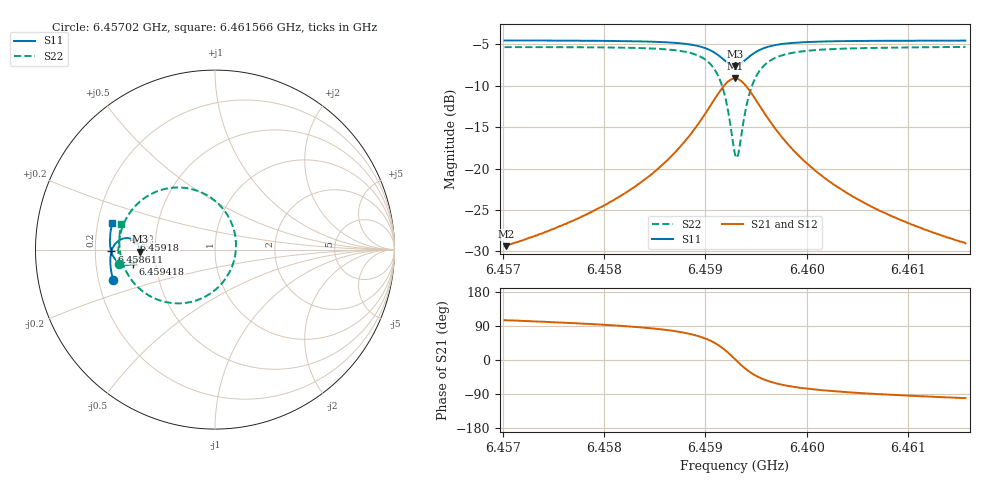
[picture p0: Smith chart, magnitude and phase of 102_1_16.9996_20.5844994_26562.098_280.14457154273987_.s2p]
#  HZ  S  RI  R  50.00
! Rohde & Schwarz Vector Network Analyzer
! Rohde-Schwarz,ZNB20-2Port,1311601062101988,3.16
! Created: UTC 3/20/2024, 10:56:40 PM
! freq[Hz]  re:S11  im:S11  re:S21  im:S21  re:S12  im:S12  re:S22  im:S22
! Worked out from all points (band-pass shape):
!   401 points, 6.45702 GHz to 6.461566 GHz, reference 50 ohm
!   highest |S21| = -9.14 dB at 6.459293 GHz (marker M1); lowest = -29.4 dB at 6.457031 GHz (marker M2)
!   |S21| within 3 dB of the highest: 6.459066 GHz to 6.45952 GHz (454.7 kHz wide, 0.00704 % of centre)
!   lowest |S11| = -7.6 dB at 6.459293 GHz (marker M3), VSWR 2.42, Z = 20.6 - j0.548 ohm
!   |S11| at or under -10 dB: nowhere
!   |S22| runs from -18.7 to -5.3 dB; largest |S21 - S12| = 0.014
!   S11 on the Smith chart (normalised r, x): 6.45702 GHz: 0.26, -0.14; 6.458611 GHz: 0.27, -0.01; 6.45918 GHz: 0.38, +0.05; 6.459418 GHz: 0.37, -0.07; 6.461566 GHz: 0.26, +0.12
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6.4570201e9  -0.567 -0.1702  -0.00875 0.0329  -0.00711 0.0328  -0.5337 -0.0805
6.4570315e9  -0.5673 -0.1692  -0.00868 0.0329  -0.00706 0.033  -0.534 -0.0791
6.4577816e9  -0.5806 -0.1034  -0.00553 0.0511  -0.00302 0.0503  -0.5385 0.0093
6.4582249e9  -0.5834 -0.0585  0.0011 0.0721  0.00447 0.0706  -0.5288 0.081
6.4585431e9  -0.5794 -0.02  0.0148 0.0998  0.0187 0.097  -0.5038 0.1545
6.4586113e9  -0.5771 -0.0104  0.0202 0.1082  0.0241 0.105  -0.4933 0.1746
6.4588045e9  -0.5644 0.02  0.047 0.1396  0.0512 0.1344  -0.443 0.2438
6.4589523e9  -0.5414 0.0465  0.093 0.1702  0.0961 0.1634  -0.3585 0.3082
6.4590887e9  -0.497 0.064  0.1813 0.1867  0.1821 0.1792  -0.1973 0.3461
6.4591796e9  -0.4517 0.0532  0.2721 0.1545  0.2723 0.1488  -0.0295 0.2937
6.4592478e9  -0.4223 0.0206  0.3328 0.0816  0.3351 0.0763  0.0858 0.1621
6.4592932e9  -0.4155 -0.011  0.349 0.0127  0.3528 0.00595  0.1171 0.0337
6.4593273e9  -0.4195 -0.0348  0.3427 -0.04  0.3468 -0.0493  0.1047 -0.0663
6.4593728e9  -0.4354 -0.0613  0.3135 -0.1003  0.3159 -0.1123  0.0455 -0.1798
6.4594183e9  -0.4578 -0.0778  0.2709 -0.1416  0.2701 -0.1549  -0.0409 -0.2543
6.4595092e9  -0.5017 -0.0848  0.1854 -0.1726  0.1791 -0.1841  -0.2109 -0.2995
6.459657e9  -0.546 -0.0644  0.0969 -0.1583  0.0883 -0.1645  -0.3792 -0.2491
6.4598161e9  -0.5679 -0.0367  0.0517 -0.13  0.0441 -0.1328  -0.4597 -0.1764
6.4600548e9  -0.5808 -0.00117  0.0224 -0.0981  0.0166 -0.0987  -0.5075 -0.0934
6.4603957e9  -0.5855 0.0397  0.00641 -0.071  0.00226 -0.0706  -0.5289 -0.0143
6.4608163e9  -0.5838 0.0821  -0.00154 -0.0524  -0.00427 -0.0514  -0.5331 0.0539
6.4615664e9  -0.572 0.1489  -0.00652 -0.0348  -0.00828 -0.034  -0.5218 0.1431
